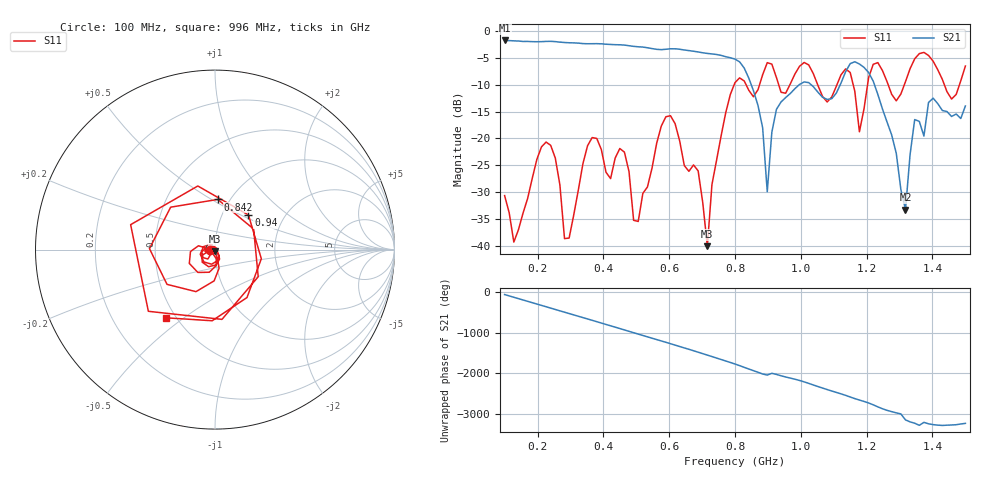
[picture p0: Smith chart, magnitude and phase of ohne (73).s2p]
! NanoVNA-App
! Date: 2025-09-26 09:55:58
! Start: 100MHz Stop: 1,5GHz Points: 101
! S-Parameter data: F S11 S21 S12 S22
# Hz S RI R 50
!  Frequency  S11_Real  S11_Imag  S21_Real  S21_Imag  S12_Real  S12_Imag  S22_Real  S22_Imag
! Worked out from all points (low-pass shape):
!   101 points, 100 MHz to 1.5 GHz, reference 50 ohm
!   highest |S21| = -1.79 dB at 100 MHz (marker M1); lowest = -33.2 dB at 1.318 GHz (marker M2)
!   |S21| within 3 dB of the highest: start of sweep to 770.6 MHz
!   lowest |S11| = -40.0 dB at 716 MHz (marker M3), VSWR 1.02, Z = 49.8 - j0.976 ohm
!   |S11| at or under -10 dB: start of sweep to 797.6 MHz; 833.5 MHz to 874.7 MHz (41.21 MHz wide, 4.82 % of centre); 1.051 GHz to 1.11 GHz (58.86 MHz wide, 5.45 % of centre) (the widest 3 of 7)
!   S12 and S22 are empty: the file has one direction only
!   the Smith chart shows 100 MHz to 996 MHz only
!   S11 on the Smith chart (normalised r, x): 100 MHz: 0.94, -0.01; 842 MHz: 0.88, +0.53; 940 MHz: 1.33, +0.55; 996 MHz: 0.44, -0.43
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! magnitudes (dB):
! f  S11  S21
! 100 MHz  -30.6  -1.8
! 128 MHz  -39.3  -1.9
! 226 MHz  -20.7  -2.0
! 296 MHz  -38.5  -2.2
! 338 MHz  -24.7  -2.4
! 464 MHz  -22.6  -2.6
! 506 MHz  -35.4  -3.0
! 576 MHz  -17.7  -3.5
! 688 MHz  -26.0  -3.9
! 716 MHz  -40.0  -4.2
! 800 MHz  -9.6  -5.3
! 842 MHz  -11.1  -8.8
! 898 MHz  -5.9  -29.9
! 940 MHz  -11.4  -13.2
! 996 MHz  -6.6  -10.0
! 1.038 GHz  -8.0  -10.4
! 1.178 GHz  -18.8  -6.2
! 1.22 GHz  -6.2  -9.4
! 1.276 GHz  -11.8  -19.4
! 1.318 GHz  -9.4  -33.2
! 1.346 GHz  -5.2  -16.5
! 1.5 GHz  -6.5  -14.0
